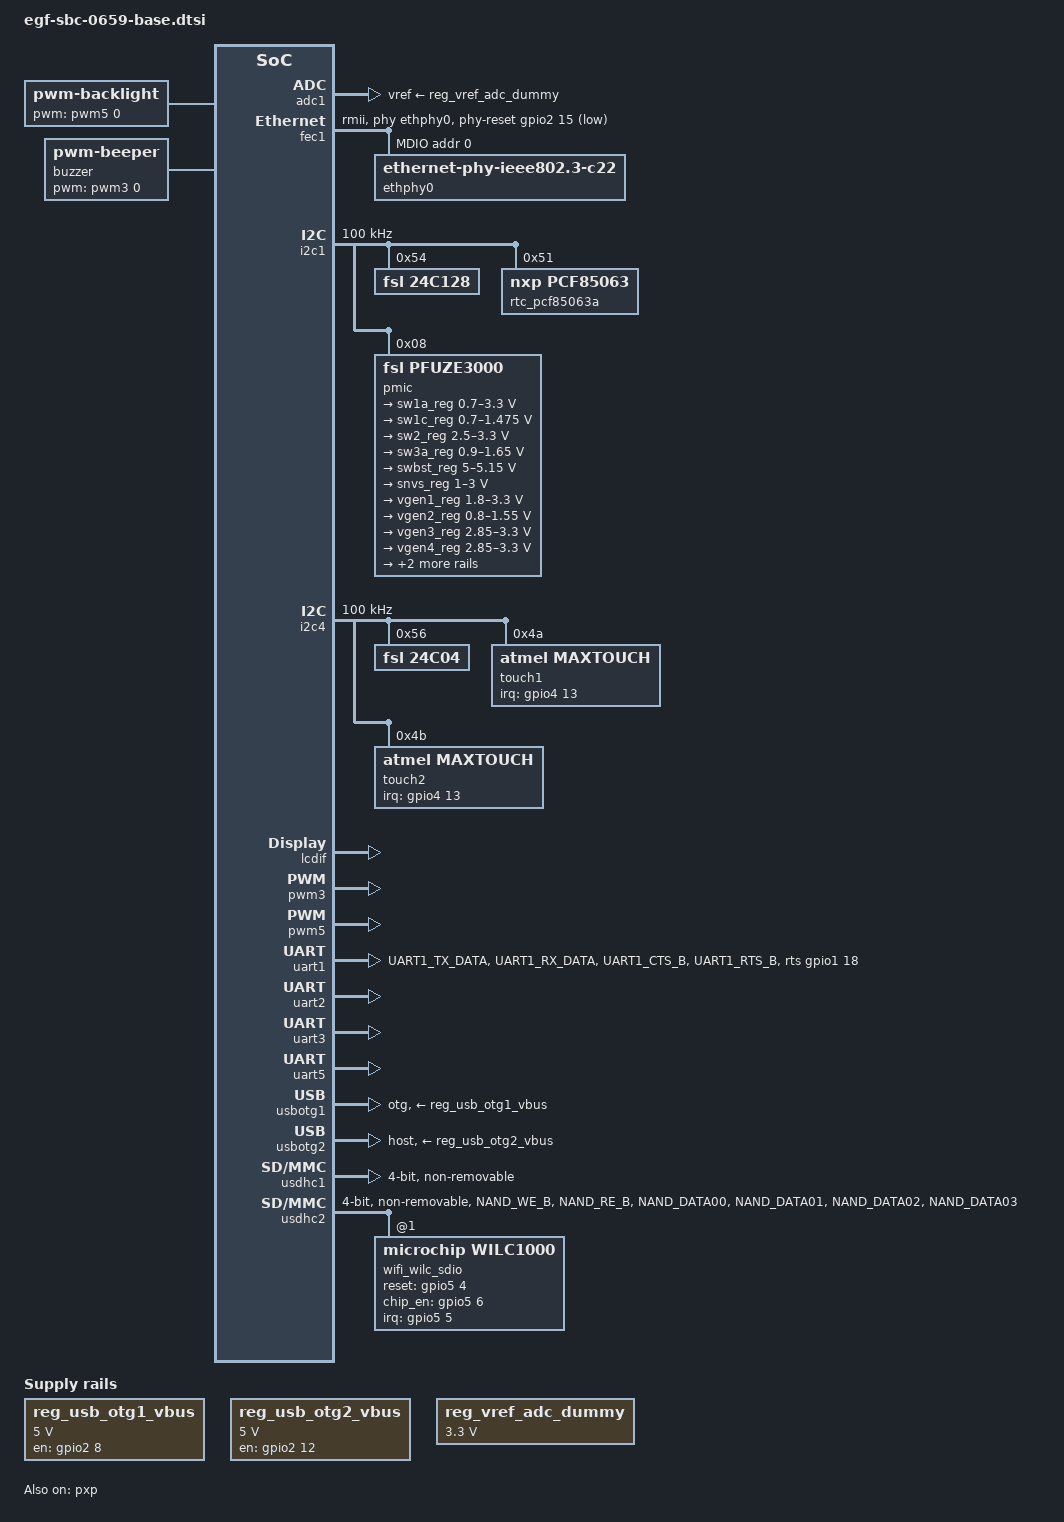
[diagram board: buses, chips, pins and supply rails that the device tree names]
/*
 * Copyright (C) 2015 Freescale Semiconductor, Inc.
 *
 * This program is free software; you can redistribute it and/or modify
 * it under the terms of the GNU General Public License version 2 as
 * published by the Free Software Foundation.
 */
 
/ {
	aliases {
		EGF_BLC1154 = &EGF_BLC1154;
		EGF_BLC1155 = &EGF_BLC1155;
		EGF_BLC1156 = &EGF_BLC1156;
		EGF_BLC1165 = &EGF_BLC1165;
		EGF_BLC1177 = &EGF_BLC1177;
		EGF_BLC1182 = &EGF_BLC1182;
		timings = &timings;
	};
	
	chosen {
		stdout-path = &uart3;
	};

	backlight {
		compatible = "pwm-backlight";
		pwms = <&pwm5 0 100000>;
		brightness-levels = <0 4 8 16 32 64 128 255>;
		default-brightness-level = <7>;
		status = "okay";
	};

	buzzer {
        compatible = "pwm-beeper";
        pwms = <&pwm3 0 1000000>;
	};

	pxp_v4l2 {
		compatible = "fsl,imx6ul-pxp-v4l2", "fsl,imx6sx-pxp-v4l2", "fsl,imx6sl-pxp-v4l2";
		status = "okay";
	};

	regulators {
		compatible = "simple-bus";
		#address-cells = <1>;
		#size-cells = <0>;
		
		reg_usb_otg1_vbus: regulator@1 {
			compatible = "regulator-fixed";
			reg = <1>;
			regulator-name = "usb_otg1_vbus";
			regulator-min-microvolt = <5000000>;
			regulator-max-microvolt = <5000000>;
			gpio = <&gpio2 8 0>;
			enable-active-high;
		};
		
		reg_usb_otg2_vbus: regulator@2 {
			compatible = "regulator-fixed";
			reg = <2>;
			regulator-name = "usb_otg2_vbus";
			regulator-min-microvolt = <5000000>;
			regulator-max-microvolt = <5000000>;
			gpio = <&gpio2 12 0>;
			enable-active-high;
		};
		
		reg_vref_adc_dummy: regulator@3 {
			compatible = "regulator-fixed";
			reg = <3>;
			regulator-name = "reg_vref_adc_dummy";
			regulator-min-microvolt = <3300000>;
			regulator-max-microvolt = <3300000>;
			regulator-always-on;
		};
	};
/*		
	panel: panel {
		compatible = "simple-panel";
		enable-gpios = <&gpio2 14 0>;
		backlight = <&backlight>;
		status = "okay";
	};
*/
};

&adc1 {
	vref-supply = <&reg_vref_adc_dummy>;
	num-channels = <4>;
	status = "okay";
};

&cpu0 {
	arm-supply = <&reg_arm>;
	soc-supply = <&reg_soc>;
};

&fec1 {
	phy-mode = "rmii";
	phy-handle = <&ethphy0>;
	phy-reset-gpios = <&gpio2 15 GPIO_ACTIVE_LOW>;
	status = "okay";
	mdio {
		#address-cells = <1>;
		#size-cells = <0>;

		ethphy0: ethernet-phy@0 {
			compatible = "ethernet-phy-ieee802.3-c22";
			reg = <0>;
		};
	};
	
};

&gpc {
	fsl,cpu_pupscr_sw2iso = <0x1>;
	fsl,cpu_pupscr_sw = <0x0>;
	fsl,cpu_pdnscr_iso2sw = <0x1>;
	fsl,cpu_pdnscr_iso = <0x1>;
	fsl,ldo-bypass = <0>; /* DCDC, ldo-enable */
};

&i2c1 {
	clock-frequency = <100000>;
	status = "okay";
	
	//eeprom factory data
	24c128@54 {
		compatible = "fsl,24c128";
		reg = <0x54>;
		pagesize = <64>;
	};
	
	rtc_pcf85063a: rtc2@51{
		compatible = "nxp,pcf85063";
		reg = <0x51>;
	};	
	
	pmic: pfuze3000@08 {
		compatible = "fsl,pfuze3000";
		reg = <0x08>;

		regulators {
			sw1a_reg: sw1a {
					regulator-min-microvolt = <700000>;
					regulator-max-microvolt = <3300000>;
					regulator-boot-on;
					regulator-always-on;
					regulator-ramp-delay = <6250>;
			};

			/* use sw1c_reg to align with pfuze100/pfuze200 */
			sw1c_reg: sw1b {
				regulator-min-microvolt = <700000>;
				regulator-max-microvolt = <1475000>;
				regulator-boot-on;
				regulator-always-on;
				regulator-ramp-delay = <6250>;
			};

			sw2_reg: sw2 {
				regulator-min-microvolt = <2500000>;
				regulator-max-microvolt = <3300000>;
				regulator-boot-on;
				regulator-always-on;
			};

			sw3a_reg: sw3 {
				regulator-min-microvolt = <900000>;
				regulator-max-microvolt = <1650000>;
				regulator-boot-on;
				regulator-always-on;
			};

			swbst_reg: swbst {
				regulator-min-microvolt = <5000000>;
				regulator-max-microvolt = <5150000>;
			};

			snvs_reg: vsnvs {
				regulator-min-microvolt = <1000000>;
				regulator-max-microvolt = <3000000>;
				regulator-boot-on;
				regulator-always-on;
			};

			vref_reg: vrefddr {
				regulator-boot-on;
				regulator-always-on;
			};

			vgen1_reg: vldo1 {
				regulator-min-microvolt = <1800000>;
				regulator-max-microvolt = <3300000>;
				regulator-always-on;
			};

			vgen2_reg: vldo2 {
				regulator-min-microvolt = <800000>;
				regulator-max-microvolt = <1550000>;
				regulator-always-on;
			};

			vgen3_reg: vccsd {
				regulator-min-microvolt = <2850000>;
				regulator-max-microvolt = <3300000>;
				regulator-always-on;
			};

			vgen4_reg: v33 {
				regulator-min-microvolt = <2850000>;
				regulator-max-microvolt = <3300000>;
				regulator-always-on;
			};

			vgen5_reg: vldo3 {
				regulator-min-microvolt = <1800000>;
				regulator-max-microvolt = <3300000>;
				regulator-always-on;
			};

			vgen6_reg: vldo4 {
				regulator-min-microvolt = <1800000>;
				regulator-max-microvolt = <3300000>;
				regulator-always-on;
			};
		};
	};
	
};

&i2c4 {
	clock-frequency = <100000>;
	status = "okay";
	
	//eeprom display data
	24c04@56 {
		compatible = "fsl,24c04";
		reg = <0x56>;
		pagesize = <16>;
	};	
	
	touch1: touch@4a {
		compatible = "atmel,maxtouch";
		reg = <0x4a>;
		interrupt-parent = <&gpio4>;
		interrupts = <13 IRQ_TYPE_LEVEL_LOW>;
	};
	
	//mxt1066t2
	touch2: touch@4b {
		compatible = "atmel,maxtouch";
		reg = <0x4b>;
		interrupt-parent = <&gpio4>;
		interrupts = <13 IRQ_TYPE_LEVEL_LOW>;
	};	
};

/* 		reset-gpios = <&gpio4 11 GPIO_ACTIVE_LOW>;
*/

&iomuxc {
	imx6ul-egf-console-smart {
		pinctrl_pwm1: pwm1grp {
			fsl,pins = <
				MX6UL_PAD_GPIO1_IO08__PWM1_OUT   0x110b0
			>;
		};
	};
	
	pinctrl_uart1_rs232: rs232 {
		fsl,pins = <	
			MX6UL_PAD_UART1_TX_DATA__UART1_DCE_TX 0x1b0b1
			MX6UL_PAD_UART1_RX_DATA__UART1_DCE_RX 0x1b0b1
			MX6UL_PAD_UART1_CTS_B__UART1_DCE_CTS  0x1b0b1
			MX6UL_PAD_UART1_RTS_B__UART1_DCE_RTS  0x1b0b1
		>;	
	};
	
	pinctrl_uart1_rs485: rs485 {
		fsl,pins = <	
			MX6UL_PAD_UART1_TX_DATA__UART1_DCE_TX 0x1b0b1
			MX6UL_PAD_UART1_RX_DATA__UART1_DCE_RX 0x1b0b1
			MX6UL_PAD_UART1_CTS_B__GPIO1_IO18	  0x17059
			MX6UL_PAD_UART1_RTS_B__GPIO1_IO19	  0x17059
		>;	
	};	
	
	pinctrl_usdhc1: usdhc1grp {
		fsl,pins = <
			MX6UL_PAD_SD1_CMD__USDHC1_CMD     0x17059
			MX6UL_PAD_SD1_CLK__USDHC1_CLK     0x10059
			MX6UL_PAD_SD1_DATA0__USDHC1_DATA0 0x17059
			MX6UL_PAD_SD1_DATA1__USDHC1_DATA1 0x17059
			MX6UL_PAD_SD1_DATA2__USDHC1_DATA2 0x17059
			MX6UL_PAD_SD1_DATA3__USDHC1_DATA3 0x17059
		>;
	};

	pinctrl_usdhc1_100mhz: usdhc1grp100mhz {
		fsl,pins = <
			MX6UL_PAD_SD1_CMD__USDHC1_CMD     0x170b9
			MX6UL_PAD_SD1_CLK__USDHC1_CLK     0x100b9
			MX6UL_PAD_SD1_DATA0__USDHC1_DATA0 0x170b9
			MX6UL_PAD_SD1_DATA1__USDHC1_DATA1 0x170b9
			MX6UL_PAD_SD1_DATA2__USDHC1_DATA2 0x170b9
			MX6UL_PAD_SD1_DATA3__USDHC1_DATA3 0x170b9
		>;
	};

	pinctrl_usdhc1_200mhz: usdhc1grp200mhz {
		fsl,pins = <
			MX6UL_PAD_SD1_CMD__USDHC1_CMD     0x170f9
			MX6UL_PAD_SD1_CLK__USDHC1_CLK     0x100f9
			MX6UL_PAD_SD1_DATA0__USDHC1_DATA0 0x170f9
			MX6UL_PAD_SD1_DATA1__USDHC1_DATA1 0x170f9
			MX6UL_PAD_SD1_DATA2__USDHC1_DATA2 0x170f9
			MX6UL_PAD_SD1_DATA3__USDHC1_DATA3 0x170f9
		>;
	};	
	
	pinctrl_usdhc2: usdhc2grp {
		fsl,pins = <
			MX6UL_PAD_NAND_WE_B__USDHC2_CMD		0x17059
			MX6UL_PAD_NAND_RE_B__USDHC2_CLK		0x10059
			MX6UL_PAD_NAND_DATA00__USDHC2_DATA0	0x17059
			MX6UL_PAD_NAND_DATA01__USDHC2_DATA1	0x17059
			MX6UL_PAD_NAND_DATA02__USDHC2_DATA2	0x17059
			MX6UL_PAD_NAND_DATA03__USDHC2_DATA3	0x17059
		>;
	};

	pinctrl_usdhc2_100mhz: usdhc2grp100mhz {
		fsl,pins = <
			MX6UL_PAD_NAND_WE_B__USDHC2_CMD		0x170b9
			MX6UL_PAD_NAND_RE_B__USDHC2_CLK		0x100a9
			MX6UL_PAD_NAND_DATA00__USDHC2_DATA0	0x170a9
			MX6UL_PAD_NAND_DATA01__USDHC2_DATA1	0x170a9
			MX6UL_PAD_NAND_DATA02__USDHC2_DATA2	0x170a9
			MX6UL_PAD_NAND_DATA03__USDHC2_DATA3	0x170a9
		>;
	};

	pinctrl_usdhc2_200mhz: usdhc2grp200mhz {
		fsl,pins = <
			MX6UL_PAD_NAND_WE_B__USDHC2_CMD		0x170f9
			MX6UL_PAD_NAND_RE_B__USDHC2_CLK		0x100f9
			MX6UL_PAD_NAND_DATA00__USDHC2_DATA0	0x170f9
			MX6UL_PAD_NAND_DATA01__USDHC2_DATA1	0x170f9
			MX6UL_PAD_NAND_DATA02__USDHC2_DATA2	0x170f9
			MX6UL_PAD_NAND_DATA03__USDHC2_DATA3	0x170f9
		>;
	};	
};

&lcdif {
	pinctrl-names = "default";
	pinctrl-0 = <>;
	fb-init-white;
	display = <&display0>;
	enable-gpio = <&gpio2 14 GPIO_ACTIVE_LOW>;
	status = "okay";

	display0: display@0 {
		bits-per-pixel = <24>;
		bus-width = <24>;
		
		timings: display-timings {
			native-mode = <&EGF_BLC1182>;
			EGF_BLC1182: RK101II01DCT851A {
				clock-frequency = <70000000>;
				hactive = <1280>;
				vactive = <800>;
				hfront-porch = <80>;
				hback-porch = <40>;
				hsync-len = <50>;
				vback-porch = <8>;
				vfront-porch = <8>;
				vsync-len = <6>;
				hsync-active = <0>;
				vsync-active = <0>;
				de-active = <1>;
				pixelclk-active = <1>;
			};			
			EGF_BLC1177: RK070ER9427CT861A {
				clock-frequency = <30000000>;
				hactive = <800>;
				vactive = <480>;
				hfront-porch = <210>;
				hback-porch = <20>;
				hsync-len = <26>;
				vback-porch = <20>;
				vfront-porch = <22>;
				vsync-len = <3>;
				hsync-active = <0>;
				vsync-active = <0>;
				de-active = <1>;
				pixelclk-active = <0>;
			};
			EGF_BLC1155: tm050rdh0341 {
				clock-frequency = <30000000>;
				hactive = <800>;
				vactive = <480>;
				hfront-porch = <88>;
				hback-porch = <40>;
				hsync-len = <48>;
				vback-porch = <32>;
				vfront-porch = <13>;
				vsync-len = <3>;
				hsync-active = <0>;
				vsync-active = <0>;
				de-active = <1>;
				pixelclk-active = <0>;
				linux,phandle = <&EGF_BLC1155>;
			};
			EGF_BLC1154: tm043ndh0240 {
				clock-frequency = <9000000>;
				hactive = <480>;
				vactive = <272>;
				hfront-porch = <8>;
				hback-porch = <43>;
				hsync-len = <4>;
				vback-porch = <12>;
				vfront-porch = <8>;
				vsync-len = <4>;
				hsync-active = <0>;
				vsync-active = <0>;
				de-active = <1>;
				pixelclk-active = <0>;
				linux,phandle = <&EGF_BLC1154>;
			};
			EGF_BLC1156: ph480272t006i17q004 {
				clock-frequency = <9000000>;
				hactive = <480>;
				vactive = <272>;
				hfront-porch = <8>;
				hback-porch = <43>;
				hsync-len = <4>;
				vback-porch = <12>;
				vfront-porch = <4>;
				vsync-len = <10>;
				hsync-active = <0>;
				vsync-active = <0>;
				de-active = <1>;
				pixelclk-active = <0>;
				linux,phandle = <&EGF_BLC1156>;
			};
			EGF_BLC1165: dlc0700ozg {
				clock-frequency = <30000000>;
				hactive = <800>;
				vactive = <480>;
				hfront-porch = <210>;
				hback-porch = <46>;
				hsync-len = <10>;
				vback-porch = <23>;
				vfront-porch = <22>;
				vsync-len = <5>;
				hsync-active = <0>;
				vsync-active = <0>;
				de-active = <1>;
				pixelclk-active = <0>;
				linux,phandle = <&EGF_BLC1165>;
			};
		};
	};
};

&pwm3 {
	status = "okay";
};


&pwm5 {
	clocks = <&clks IMX6UL_CLK_PWM5>,
				<&clks IMX6UL_CLK_PWM5>;
	status = "okay";
};

&pxp {
	status = "okay";
};

//&uart1 {
//	pinctrl-names = "default";
//	pinctrl-0 = <&pinctrl_uart1_rs232>;
//	uart-has-rtscts;
//	status = "okay";
//};

//Replace UART1 with this node for RS-485
&uart1 {
	pinctrl-names = "default";
	pinctrl-0 = <&pinctrl_uart1_rs485>;
	rts-gpios = <&gpio1 18 GPIO_ACTIVE_HIGH>;
	cts-gpios = <&gpio1 19 GPIO_ACTIVE_HIGH>;
	linux,rs485-enabled-at-boot-time;
	linux,rs485-rts-on-send;
	status = "okay";
};

&uart2 {
	fsl,uart-has-rtscts;
	status = "okay";
};

&uart3 {
	status = "okay";
};

&uart5 {
	status = "okay";
};

&usbotg1 {
	vbus-supply = <&reg_usb_otg1_vbus>;
	dr_mode = "otg";
	disable-over-current;
	status = "okay";
};

&usbotg2 {
	vbus-supply = <&reg_usb_otg2_vbus>;
	dr_mode = "host";
	disable-over-current;
	status = "okay";
};

//eMMC
&usdhc1 {
	cd-gpios = <>;
	wp-gpios = <>;
	vmmc-supply = <>;
	bus-width = <4>;
	non-removable;
	no-1-8-v;
	status = "okay";
};

//wifi atwilc3000
&usdhc2 {
	pinctrl-names = "default";
	pinctrl-0 = <&pinctrl_usdhc2>;
	bus-width = <4>;
	non-removable;
	no-1-8-v;
	status = "okay";
	
    keep-power-in-suspend;
    enable-sdio-wakeup;
	non-removable;    /* non-removable is not a variable, the fact it is */
	                  /* listed is all that is used by driver  */
	cap-power-off-card;
	pm-ignore-notify;	
	
	#address-cells = <1>;
	#size-cells = <0>;	
	
	//wireless Microchip ATWILC3000
    wifi_wilc_sdio: wifi_wilc_sdio@1 {
        compatible = "microchip,wilc1000", "microchip,wilc3000", "atmel,wilc_sdio";
        reset-gpios = <&gpio5 4 0>;
        chip_en-gpios = <&gpio5 6 0>;
        irq-gpios = <&gpio5 5 0>;
        status = "okay";
        reg = <1>;
        bus-width = <4>;
    };	
};

&wdog1 {
	fsl,wdog_b;
};
